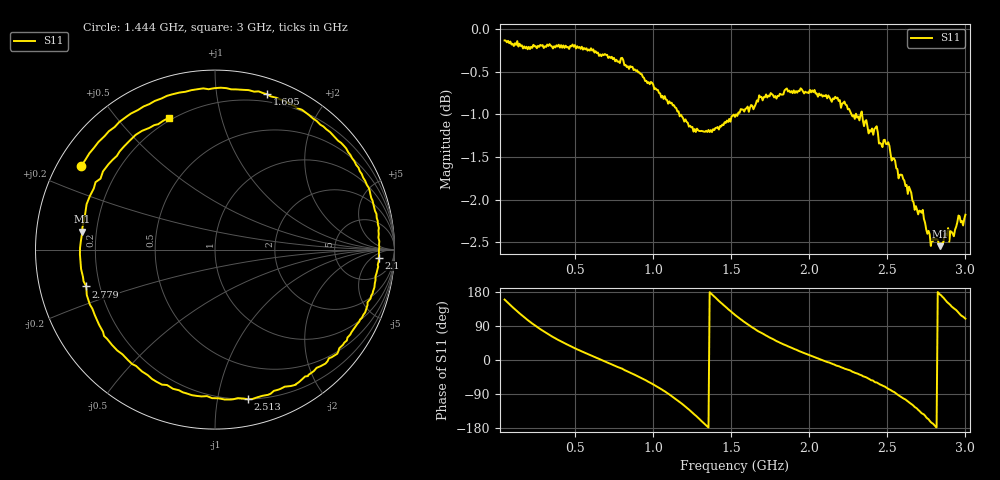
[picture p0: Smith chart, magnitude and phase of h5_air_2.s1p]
! nanovna_capture.py 2026-10-18T19:46:38+0900
! NanoVNA-F_V2 fw 0.6.0 SN 4A3639384505514B
! cal: load open short cal'ed  over 50000000-3000000000 Hz, 201 points
! points 401, avg 4
! 5 mm H loop, tape spacer, free air >=10 cm, capture 2
# HZ S RI R 50
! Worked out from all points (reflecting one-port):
!   401 points, 50 MHz to 3 GHz, reference 50 ohm
!   lowest |S11| = -2.5 dB at 2.838 GHz (marker M1), VSWR 6.87, Z = 7.31 + j3.26 ohm
!   phase of S11 starts at 159 deg and turns -770 deg over the sweep
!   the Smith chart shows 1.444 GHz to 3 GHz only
!   S11 on the Smith chart (normalised r, x): 1.444 GHz: 0.07, +0.29; 1.695 GHz: 0.13, +1.38; 2.1 GHz: 17, -9; 2.513 GHz: 0.20, -1.23; 2.779 GHz: 0.15, -0.14; 3 GHz: 0.19, +0.70
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5e7  -0.9221 0.3459
1.385e8  -0.569 0.7939
2.19625e8  -0.1444 0.9658
3.08125e8  0.2772 0.9368
4.1875e8  0.6569 0.7208
6.03125e8  0.9536 0.2006
7.875e8  0.8934 -0.338
9.055e8  0.6843 -0.6491
1.001375e9  0.4007 -0.8369
1.15625e9  -0.2537 -0.858
1.237375e9  -0.6034 -0.6373
1.3185e9  -0.8389 -0.2346
1.384875e9  -0.8608 0.1489
1.443875e9  -0.7445 0.4674
1.525e9  -0.4295 0.7774
1.606125e9  -0.0656 0.8983
1.694625e9  0.2892 0.8655
1.89375e9  0.7864 0.4719
2.10025e9  0.9124 -0.0441
2.2625e9  0.7935 -0.413
2.373125e9  0.59 -0.6486
2.51325e9  0.1852 -0.8339
2.63125e9  -0.2673 -0.7544
2.71975e9  -0.6017 -0.4969
2.77875e9  -0.7174 -0.205
2.83775e9  -0.7393 0.099
2.918875e9  -0.5698 0.5009
3e9  -0.2544 0.7355
